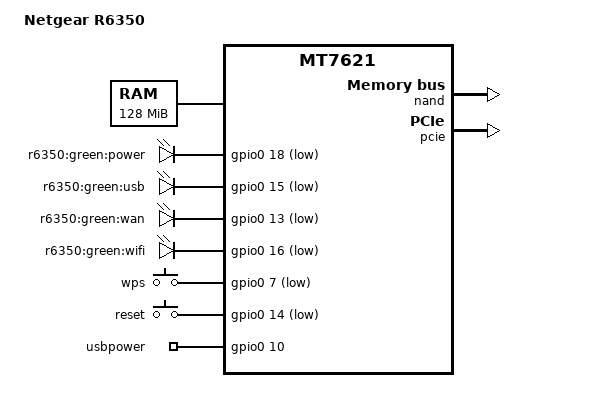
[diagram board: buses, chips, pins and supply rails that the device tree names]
// SPDX-License-Identifier: GPL-2.0
/dts-v1/;

#include "mt7621.dtsi"

#include <dt-bindings/gpio/gpio.h>
#include <dt-bindings/input/input.h>

/ {
	compatible = "netgear,r6350", "mediatek,mt7621-soc";
	model = "Netgear R6350";

	aliases {
		led-boot = &led_power;
		led-failsafe = &led_power;
		led-running = &led_power;
		led-upgrade = &led_power;
	};

	memory@0 {
		device_type = "memory";
		reg = <0x0 0x8000000>;
	};

	chosen {
		bootargs = "console=ttyS0,57600";
	};

	leds {
		compatible = "gpio-leds";

		led_power: power {
			label = "r6350:green:power";
			gpios = <&gpio0 18 GPIO_ACTIVE_LOW>;
		};

		usb {
			label = "r6350:green:usb";
			gpios = <&gpio0 15 GPIO_ACTIVE_LOW>;
			trigger-sources = <&xhci_ehci_port1>, <&ehci_port2>;
			linux,default-trigger = "usbport";
		};

		internet {
			label = "r6350:green:wan";
			gpios = <&gpio0 13 GPIO_ACTIVE_LOW>;
		};

		wifi {
			label = "r6350:green:wifi";
			gpios = <&gpio0 16 GPIO_ACTIVE_LOW>;
		};
	};

	keys {
		compatible = "gpio-keys-polled";
		poll-interval = <20>;

		wps {
			label = "wps";
			gpios = <&gpio0 7 GPIO_ACTIVE_LOW>;
			linux,code = <KEY_WPS_BUTTON>;
		};

		reset {
			label = "reset";
			gpios = <&gpio0 14 GPIO_ACTIVE_LOW>;
			linux,code = <KEY_RESTART>;
		};
	};

	gpio_export {
		compatible = "gpio-export";
		#size-cells = <0>;

		usbpower {
			gpio-export,name = "usbpower";
			gpio-export,output = <1>;
			gpios = <&gpio0 10 GPIO_ACTIVE_HIGH>;
		};
	};
};

&nand {
	status = "okay";

	partitions {
		compatible = "fixed-partitions";
		#address-cells = <1>;
		#size-cells = <1>;

		partition@0 {
			label = "u-boot";
			reg = <0x0 0x100000>;
			read-only;
		};

		partition@100000 {
			label = "SC PART_MAP";
			reg = <0x100000 0x100000>;
			read-only;
		};

		partition@200000 {
			label = "kernel";
			reg = <0x200000 0x400000>;
		};

		partition@600000 {
			label = "ubi";
			reg = <0x600000 0x2800000>;
		};

		partition@2e00000 {
			label = "reserved0";
			reg = <0x2e00000 0x1800000>;
			read-only;
		};

		factory: partition@4600000 {
			label = "factory";
			reg = <0x4600000 0x200000>;
			read-only;
		};

		partition@4800000 {
			label = "reserved1";
			reg = <0x4800000 0x3800000>;
			read-only;
		};
	};
};

&pcie {
	status = "okay";
};

&pcie1 {
	wifi@0,0 {
		reg = <0x0 0 0 0 0>;
		mediatek,mtd-eeprom = <&factory 0x0>;
		ieee80211-freq-limit = <2400000 2500000>;
	};
};

&ethernet {
	mtd-mac-address = <&factory 0x4>;
};

&pinctrl {
	state_default: pinctrl0 {
		gpio {
			ralink,group = "uart3", "uart2", "jtag", "wdt";
			ralink,function = "gpio";
		};
	};
};
